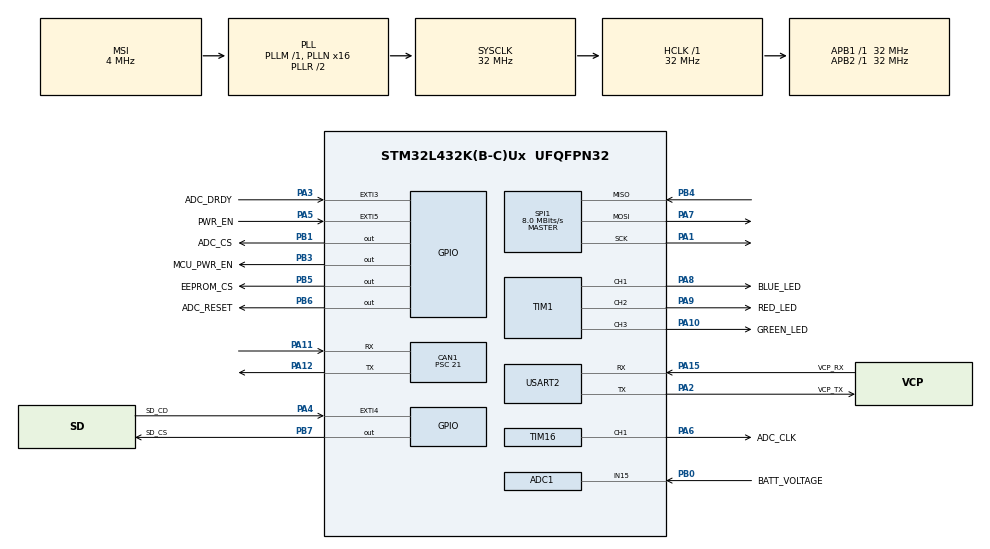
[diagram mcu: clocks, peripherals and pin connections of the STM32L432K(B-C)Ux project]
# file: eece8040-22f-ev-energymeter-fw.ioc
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ADC1.Channel-0\#ChannelRegularConversion=ADC_CHANNEL_15
ADC1.NbrOfConversionFlag=1
ADC1.OffsetNumber-0\#ChannelRegularConversion=ADC_OFFSET_NONE
ADC1.Rank-0\#ChannelRegularConversion=1
ADC1.SamplingTime-0\#ChannelRegularConversion=ADC_SAMPLETIME_2CYCLES_5
ADC1.master=1
CAN1.CalculateBaudRate=507936
CAN1.CalculateTimeBit=1968
CAN1.CalculateTimeQuantum=656.25
CAN1.Prescaler=21
Dma.Request0=USART2_RX
Dma.USART2_RX.0.Direction=DMA_PERIPH_TO_MEMORY
Dma.USART2_RX.0.Instance=DMA1_Channel6
Dma.USART2_RX.0.MemDataAlignment=DMA_MDATAALIGN_BYTE
Dma.USART2_RX.0.MemInc=DMA_MINC_ENABLE
Dma.USART2_RX.0.Mode=DMA_NORMAL
Dma.USART2_RX.0.PeriphDataAlignment=DMA_PDATAALIGN_BYTE
Dma.USART2_RX.0.PeriphInc=DMA_PINC_DISABLE
Dma.USART2_RX.0.Priority=DMA_PRIORITY_LOW
FATFS._MAX_SS=4096
FATFS._USE_LFN=1
Mcu.Family=STM32L4
Mcu.Name=STM32L432K(B-C)Ux
Mcu.Package=UFQFPN32
NVIC.DMA1_Channel6_IRQn=true\:0\:0\:false\:false\:true\:false\:true\:true
NVIC.EXTI3_IRQn=true\:0\:0\:false\:false\:true\:true\:true\:false
NVIC.EXTI4_IRQn=true\:0\:0\:false\:false\:true\:true\:true\:false
NVIC.EXTI9_5_IRQn=true\:0\:0\:false\:false\:true\:true\:true\:false
NVIC.PriorityGroup=NVIC_PRIORITYGROUP_4
NVIC.USART2_IRQn=true\:0\:0\:false\:false\:true\:true\:true\:true
PA0.GPIO_Label=MCO [High speed clock in]
PA0.Mode=HSE-External-Clock-Source-for-LittleOrca
PA0.Signal=RCC_CK_IN
PA1.Mode=Full_Duplex_Master
PA1.Signal=SPI1_SCK
PA10.GPIO_Label=GREEN_LED
PA10.Signal=S_TIM1_CH3
PA11.Mode=CAN_Activate
PA11.Signal=CAN1_RX
PA12.Mode=CAN_Activate
PA12.Signal=CAN1_TX
PA13\ (JTMS-SWDIO).GPIO_Label=SWDIO
PA13\ (JTMS-SWDIO).Mode=Serial_Wire
PA13\ (JTMS-SWDIO).Signal=SYS_JTMS-SWDIO
PA14\ (JTCK-SWCLK).GPIO_Label=SWCLK
PA14\ (JTCK-SWCLK).Mode=Serial_Wire
PA14\ (JTCK-SWCLK).Signal=SYS_JTCK-SWCLK
PA15\ (JTDI).GPIO_Label=VCP_RX
PA15\ (JTDI).Mode=Asynchronous
PA15\ (JTDI).Signal=USART2_RX
PA2.GPIO_Label=VCP_TX
PA2.Mode=Asynchronous
PA2.Signal=USART2_TX
PA3.GPIO_Label=ADC_DRDY
PA3.GPIO_ModeDefaultEXTI=GPIO_MODE_IT_FALLING
PA3.Signal=GPXTI3
PA4.GPIO_Label=SD_CD
PA4.GPIO_ModeDefaultEXTI=GPIO_MODE_IT_FALLING
PA4.GPIO_PuPd=GPIO_PULLUP
PA4.Signal=GPXTI4
PA5.GPIO_Label=PWR_EN
PA5.GPIO_ModeDefaultEXTI=GPIO_MODE_IT_FALLING
PA5.GPIO_PuPd=GPIO_PULLDOWN
PA5.Signal=GPXTI5
PA6.GPIO_Label=ADC_CLK
PA6.GPIO_Speed=GPIO_SPEED_FREQ_LOW
PA6.Signal=S_TIM16_CH1
PA7.Mode=Full_Duplex_Master
PA7.Signal=SPI1_MOSI
PA8.GPIO_Label=BLUE_LED
PA8.Signal=S_TIM1_CH1
PA9.GPIO_Label=RED_LED
PA9.Signal=S_TIM1_CH2
PB0.GPIO_Label=BATT_VOLTAGE
PB0.Signal=ADCx_IN15
PB1.GPIO_Label=ADC_CS
PB1.PinState=GPIO_PIN_SET
PB1.Signal=GPIO_Output
PB3\ (JTDO-TRACESWO).GPIO_Label=MCU_PWR_EN
PB3\ (JTDO-TRACESWO).PinState=GPIO_PIN_SET
PB3\ (JTDO-TRACESWO).Signal=GPIO_Output
PB4\ (NJTRST).Mode=Full_Duplex_Master
PB4\ (NJTRST).Signal=SPI1_MISO
PB5.GPIO_Label=EEPROM_CS
PB5.PinState=GPIO_PIN_SET
PB5.Signal=GPIO_Output
PB6.GPIO_Label=ADC_RESET
PB6.PinState=GPIO_PIN_SET
PB6.Signal=GPIO_Output
PB7.GPIO_Label=SD_CS
PB7.PinState=GPIO_PIN_SET
PB7.Signal=GPIO_Output
PC14-OSC32_IN\ (PC14).Mode=LSE-External-Oscillator
PC14-OSC32_IN\ (PC14).Signal=RCC_OSC32_IN
PC15-OSC32_OUT\ (PC15).Mode=LSE-External-Oscillator
PC15-OSC32_OUT\ (PC15).Signal=RCC_OSC32_OUT
ProjectManager.HeapSize=0x200
ProjectManager.StackSize=0x400
ProjectManager.TargetToolchain=STM32CubeIDE
RCC.ADCFreq_Value=32000000
RCC.AHBFreq_Value=32000000
RCC.APB1Freq_Value=32000000
RCC.APB1TimFreq_Value=32000000
RCC.APB2Freq_Value=32000000
RCC.APB2TimFreq_Value=32000000
RCC.CortexFreq_Value=32000000
RCC.HCLKFreq_Value=32000000
RCC.HSE_VALUE=8000000
RCC.HSI48_VALUE=48000000
RCC.HSI_VALUE=16000000
RCC.MSI_VALUE=4000000
RCC.PLLN=16
RCC.PLLSAI1N=16
RCC.SYSCLKFreq_VALUE=32000000
RCC.SYSCLKSource=RCC_SYSCLKSOURCE_PLLCLK
RCC.USBFreq_Value=32000000
RCC.VCOOutputFreq_Value=64000000
SH.ADCx_IN15.0=ADC1_IN15,IN15-Single-Ended
SH.S_TIM16_CH1.0=TIM16_CH1,PWM Generation1 CH1
SH.S_TIM1_CH1.0=TIM1_CH1,PWM Generation1 CH1
SH.S_TIM1_CH2.0=TIM1_CH2,PWM Generation2 CH2
SH.S_TIM1_CH3.0=TIM1_CH3,PWM Generation3 CH3
SPI1.BaudRatePrescaler=SPI_BAUDRATEPRESCALER_4
SPI1.CLKPhase=SPI_PHASE_2EDGE
SPI1.CalculateBaudRate=8.0 MBits/s
SPI1.DataSize=SPI_DATASIZE_8BIT
SPI1.Direction=SPI_DIRECTION_2LINES
SPI1.Mode=SPI_MODE_MASTER
SPI1.VirtualType=VM_MASTER
TIM1.Channel-PWM\ Generation1\ CH1=TIM_CHANNEL_1
TIM1.Channel-PWM\ Generation2\ CH2=TIM_CHANNEL_2
TIM1.Channel-PWM\ Generation3\ CH3=TIM_CHANNEL_3
TIM1.OCPolarity_1=TIM_OCPOLARITY_LOW
TIM1.OCPolarity_2=TIM_OCPOLARITY_LOW
TIM1.OCPolarity_3=TIM_OCPOLARITY_LOW
TIM16.Channel=TIM_CHANNEL_1
TIM16.Period=3
TIM16.Pulse=2
USART2.VirtualMode-Asynchronous=VM_ASYNC
VP_FATFS_VS_Generic.Mode=User_defined
VP_TIM16_VS_ClockSourceINT.Mode=Enable_Timer
board=custom

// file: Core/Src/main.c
/* USER CODE BEGIN Header */
/**
  ******************************************************************************
  * @file           : main.c
  * @brief          : Main program body
  ******************************************************************************
  * @attention
  *
  * Copyright (c) 2022 STMicroelectronics.
  * All rights reserved.
  *
  * This software is licensed under terms that can be found in the LICENSE file
  * in the root directory of this software component.
  * If no LICENSE file comes with this software, it is provided AS-IS.
  *
  ******************************************************************************
  */
/* USER CODE END Header */
#include "main.h"
#include "fatfs.h"

/* USER CODE BEGIN Includes */
#include "integrity.h"
#include "ui.h"
#include "power.h"
#include "eeprom.h"
#include "adc_spi.h"
#include "log.h"
#include "stdbool.h"

/* USER CODE END Includes */

ADC_HandleTypeDef hadc1;

CAN_HandleTypeDef hcan1;

SPI_HandleTypeDef hspi1;

TIM_HandleTypeDef htim1;
TIM_HandleTypeDef htim16;

UART_HandleTypeDef huart2;
DMA_HandleTypeDef hdma_usart2_rx;

/* USER CODE BEGIN PV */
uint8_t ADCnewData = 0;
uint8_t runLogRoutine = 0;
uint32_t timestamp;
uint32_t nextLog = 0;

uint8_t UARTrxData[80];
bool UARTdataAvailable = false;

/* USER CODE END PV */

void SystemClock_Config(void);
static void MX_GPIO_Init(void);
static void MX_DMA_Init(void);
static void MX_USART2_UART_Init(void);
static void MX_CAN1_Init(void);
static void MX_ADC1_Init(void);
static void MX_TIM1_Init(void);
static void MX_TIM16_Init(void);
static void MX_SPI1_Init(void);

int main(void)
{

  /* MCU Configuration--------------------------------------------------------*/

  /* Reset of all peripherals, Initializes the Flash interface and the Systick. */
  HAL_Init();

  /* Configure the system clock */
  SystemClock_Config();

  /* USER CODE BEGIN SysInit */
	initCurrentStatus();

  /* USER CODE END SysInit */

  /* Initialize all configured peripherals */
  MX_GPIO_Init();
  MX_DMA_Init();
  MX_USART2_UART_Init();
  MX_CAN1_Init();
  MX_ADC1_Init();
  MX_TIM1_Init();
  MX_TIM16_Init();
  MX_SPI1_Init();
  MX_FATFS_Init();
  /* USER CODE BEGIN 2 */
	HAL_TIM_PWM_Start(&htim16, TIM_CHANNEL_1);
	initPowerModule();
	EEPROM_SPI_INIT();

	if (ADCinit(&hspi1) != HAL_OK) {
		printf("Error initializing ADC.\n\r");
	}

	HAL_UARTEx_ReceiveToIdle_DMA(&huart2, UARTrxData, 80);
//	_HAL_DMA_DISABLE_IT(&hdma_usart2_rx, DMA_IT_HT);

  /* USER CODE END 2 */

  /* Infinite loop */
	while (1) {

    /* USER CODE BEGIN 3 */
		houseKeep();

		if (ADCnewData >= 1){
			ADCrawChannels();
			runLogRoutine = 1;
			ADCnewData = 0;
		}

		dataLogRoutine(timestamp, &runLogRoutine);

		if(UARTdataAvailable){
			if (UARTrxData[0] == '$'){
				uiCommand(UARTrxData);
			}
			UARTdataAvailable = false;
			HAL_UARTEx_ReceiveToIdle_DMA(&huart2, UARTrxData, 80);
		}

	}
  /* USER CODE END 3 */
}

void SystemClock_Config(void)
{
  RCC_OscInitTypeDef RCC_OscInitStruct = {0};
  RCC_ClkInitTypeDef RCC_ClkInitStruct = {0};

  /** Configure the main internal regulator output voltage
  */
  if (HAL_PWREx_ControlVoltageScaling(PWR_REGULATOR_VOLTAGE_SCALE1) != HAL_OK)
  {
    Error_Handler();
  }

  /** Configure LSE Drive Capability
  */
  HAL_PWR_EnableBkUpAccess();
  __HAL_RCC_LSEDRIVE_CONFIG(RCC_LSEDRIVE_LOW);

  /** Initializes the RCC Oscillators according to the specified parameters
  * in the RCC_OscInitTypeDef structure.
  */
  RCC_OscInitStruct.OscillatorType = RCC_OSCILLATORTYPE_LSE|RCC_OSCILLATORTYPE_MSI;
  RCC_OscInitStruct.LSEState = RCC_LSE_ON;
  RCC_OscInitStruct.MSIState = RCC_MSI_ON;
  RCC_OscInitStruct.MSICalibrationValue = 0;
  RCC_OscInitStruct.MSIClockRange = RCC_MSIRANGE_6;
  RCC_OscInitStruct.PLL.PLLState = RCC_PLL_ON;
  RCC_OscInitStruct.PLL.PLLSource = RCC_PLLSOURCE_MSI;
  RCC_OscInitStruct.PLL.PLLM = 1;
  RCC_OscInitStruct.PLL.PLLN = 16;
  RCC_OscInitStruct.PLL.PLLP = RCC_PLLP_DIV7;
  RCC_OscInitStruct.PLL.PLLQ = RCC_PLLQ_DIV2;
  RCC_OscInitStruct.PLL.PLLR = RCC_PLLR_DIV2;
  if (HAL_RCC_OscConfig(&RCC_OscInitStruct) != HAL_OK)
  {
    Error_Handler();
  }

  /** Initializes the CPU, AHB and APB buses clocks
  */
  RCC_ClkInitStruct.ClockType = RCC_CLOCKTYPE_HCLK|RCC_CLOCKTYPE_SYSCLK
                              |RCC_CLOCKTYPE_PCLK1|RCC_CLOCKTYPE_PCLK2;
  RCC_ClkInitStruct.SYSCLKSource = RCC_SYSCLKSOURCE_PLLCLK;
  RCC_ClkInitStruct.AHBCLKDivider = RCC_SYSCLK_DIV1;
  RCC_ClkInitStruct.APB1CLKDivider = RCC_HCLK_DIV1;
  RCC_ClkInitStruct.APB2CLKDivider = RCC_HCLK_DIV1;

  if (HAL_RCC_ClockConfig(&RCC_ClkInitStruct, FLASH_LATENCY_1) != HAL_OK)
  {
    Error_Handler();
  }

  /** Enable MSI Auto calibration
  */
  HAL_RCCEx_EnableMSIPLLMode();
}

static void MX_ADC1_Init(void)
{

  ADC_ChannelConfTypeDef sConfig = {0};

  /** Common config
  */
  hadc1.Instance = ADC1;
  hadc1.Init.ClockPrescaler = ADC_CLOCK_ASYNC_DIV1;
  hadc1.Init.Resolution = ADC_RESOLUTION_12B;
  hadc1.Init.DataAlign = ADC_DATAALIGN_RIGHT;
  hadc1.Init.ScanConvMode = ADC_SCAN_DISABLE;
  hadc1.Init.EOCSelection = ADC_EOC_SINGLE_CONV;
  hadc1.Init.LowPowerAutoWait = DISABLE;
  hadc1.Init.ContinuousConvMode = DISABLE;
  hadc1.Init.NbrOfConversion = 1;
  hadc1.Init.DiscontinuousConvMode = DISABLE;
  hadc1.Init.ExternalTrigConv = ADC_SOFTWARE_START;
  hadc1.Init.ExternalTrigConvEdge = ADC_EXTERNALTRIGCONVEDGE_NONE;
  hadc1.Init.DMAContinuousRequests = DISABLE;
  hadc1.Init.Overrun = ADC_OVR_DATA_PRESERVED;
  hadc1.Init.OversamplingMode = DISABLE;
  if (HAL_ADC_Init(&hadc1) != HAL_OK)
  {
    Error_Handler();
  }

  /** Configure Regular Channel
  */
  sConfig.Channel = ADC_CHANNEL_15;
  sConfig.Rank = ADC_REGULAR_RANK_1;
  sConfig.SamplingTime = ADC_SAMPLETIME_2CYCLES_5;
  sConfig.SingleDiff = ADC_SINGLE_ENDED;
  sConfig.OffsetNumber = ADC_OFFSET_NONE;
  sConfig.Offset = 0;
  if (HAL_ADC_ConfigChannel(&hadc1, &sConfig) != HAL_OK)
  {
    Error_Handler();
  }

}

static void MX_CAN1_Init(void)
{

  hcan1.Instance = CAN1;
  hcan1.Init.Prescaler = 21;
  hcan1.Init.Mode = CAN_MODE_NORMAL;
  hcan1.Init.SyncJumpWidth = CAN_SJW_1TQ;
  hcan1.Init.TimeSeg1 = CAN_BS1_1TQ;
  hcan1.Init.TimeSeg2 = CAN_BS2_1TQ;
  hcan1.Init.TimeTriggeredMode = DISABLE;
  hcan1.Init.AutoBusOff = DISABLE;
  hcan1.Init.AutoWakeUp = DISABLE;
  hcan1.Init.AutoRetransmission = DISABLE;
  hcan1.Init.ReceiveFifoLocked = DISABLE;
  hcan1.Init.TransmitFifoPriority = DISABLE;
  if (HAL_CAN_Init(&hcan1) != HAL_OK)
  {
    Error_Handler();
  }

}

static void MX_SPI1_Init(void)
{

  /* USER CODE BEGIN SPI1_Init 0 */
	//The SPI configuration is CPOL=0 | CPHA=0.
	//Check if it matches with the peripherals.

  /* USER CODE END SPI1_Init 0 */

  /* SPI1 parameter configuration*/
  hspi1.Instance = SPI1;
  hspi1.Init.Mode = SPI_MODE_MASTER;
  hspi1.Init.Direction = SPI_DIRECTION_2LINES;
  hspi1.Init.DataSize = SPI_DATASIZE_8BIT;
  hspi1.Init.CLKPolarity = SPI_POLARITY_LOW;
  hspi1.Init.CLKPhase = SPI_PHASE_2EDGE;
  hspi1.Init.NSS = SPI_NSS_SOFT;
  hspi1.Init.BaudRatePrescaler = SPI_BAUDRATEPRESCALER_4;
  hspi1.Init.FirstBit = SPI_FIRSTBIT_MSB;
  hspi1.Init.TIMode = SPI_TIMODE_DISABLE;
  hspi1.Init.CRCCalculation = SPI_CRCCALCULATION_DISABLE;
  hspi1.Init.CRCPolynomial = 7;
  hspi1.Init.CRCLength = SPI_CRC_LENGTH_DATASIZE;
  hspi1.Init.NSSPMode = SPI_NSS_PULSE_DISABLE;
  if (HAL_SPI_Init(&hspi1) != HAL_OK)
  {
    Error_Handler();
  }

}

static void MX_TIM1_Init(void)
{

  TIM_MasterConfigTypeDef sMasterConfig = {0};
  TIM_OC_InitTypeDef sConfigOC = {0};
  TIM_BreakDeadTimeConfigTypeDef sBreakDeadTimeConfig = {0};

  htim1.Instance = TIM1;
  htim1.Init.Prescaler = 0;
  htim1.Init.CounterMode = TIM_COUNTERMODE_UP;
  htim1.Init.Period = 65535;
  htim1.Init.ClockDivision = TIM_CLOCKDIVISION_DIV1;
  htim1.Init.RepetitionCounter = 0;
  htim1.Init.AutoReloadPreload = TIM_AUTORELOAD_PRELOAD_DISABLE;
  if (HAL_TIM_PWM_Init(&htim1) != HAL_OK)
  {
    Error_Handler();
  }
  sMasterConfig.MasterOutputTrigger = TIM_TRGO_RESET;
  sMasterConfig.MasterOutputTrigger2 = TIM_TRGO2_RESET;
  sMasterConfig.MasterSlaveMode = TIM_MASTERSLAVEMODE_DISABLE;
  if (HAL_TIMEx_MasterConfigSynchronization(&htim1, &sMasterConfig) != HAL_OK)
  {
    Error_Handler();
  }
  sConfigOC.OCMode = TIM_OCMODE_PWM1;
  sConfigOC.Pulse = 0;
  sConfigOC.OCPolarity = TIM_OCPOLARITY_LOW;
  sConfigOC.OCNPolarity = TIM_OCNPOLARITY_HIGH;
  sConfigOC.OCFastMode = TIM_OCFAST_DISABLE;
  sConfigOC.OCIdleState = TIM_OCIDLESTATE_RESET;
  sConfigOC.OCNIdleState = TIM_OCNIDLESTATE_RESET;
  if (HAL_TIM_PWM_ConfigChannel(&htim1, &sConfigOC, TIM_CHANNEL_1) != HAL_OK)
  {
    Error_Handler();
  }
  if (HAL_TIM_PWM_ConfigChannel(&htim1, &sConfigOC, TIM_CHANNEL_2) != HAL_OK)
  {
    Error_Handler();
  }
  if (HAL_TIM_PWM_ConfigChannel(&htim1, &sConfigOC, TIM_CHANNEL_3) != HAL_OK)
  {
    Error_Handler();
  }
  sBreakDeadTimeConfig.OffStateRunMode = TIM_OSSR_DISABLE;
  sBreakDeadTimeConfig.OffStateIDLEMode = TIM_OSSI_DISABLE;
  sBreakDeadTimeConfig.LockLevel = TIM_LOCKLEVEL_OFF;
  sBreakDeadTimeConfig.DeadTime = 0;
  sBreakDeadTimeConfig.BreakState = TIM_BREAK_DISABLE;
  sBreakDeadTimeConfig.BreakPolarity = TIM_BREAKPOLARITY_HIGH;
  sBreakDeadTimeConfig.BreakFilter = 0;
  sBreakDeadTimeConfig.Break2State = TIM_BREAK2_DISABLE;
  sBreakDeadTimeConfig.Break2Polarity = TIM_BREAK2POLARITY_HIGH;
  sBreakDeadTimeConfig.Break2Filter = 0;
  sBreakDeadTimeConfig.AutomaticOutput = TIM_AUTOMATICOUTPUT_DISABLE;
  if (HAL_TIMEx_ConfigBreakDeadTime(&htim1, &sBreakDeadTimeConfig) != HAL_OK)
  {
    Error_Handler();
  }
  HAL_TIM_MspPostInit(&htim1);

}

static void MX_TIM16_Init(void)
{

  /* USER CODE BEGIN TIM16_Init 0 */
	GPIO_InitTypeDef GPIO_InitStruct = {0};
  /* USER CODE END TIM16_Init 0 */

  TIM_OC_InitTypeDef sConfigOC = {0};
  TIM_BreakDeadTimeConfigTypeDef sBreakDeadTimeConfig = {0};

  htim16.Instance = TIM16;
  htim16.Init.Prescaler = 0;
  htim16.Init.CounterMode = TIM_COUNTERMODE_UP;
  htim16.Init.Period = 3;
  htim16.Init.ClockDivision = TIM_CLOCKDIVISION_DIV1;
  htim16.Init.RepetitionCounter = 0;
  htim16.Init.AutoReloadPreload = TIM_AUTORELOAD_PRELOAD_DISABLE;
  if (HAL_TIM_Base_Init(&htim16) != HAL_OK)
  {
    Error_Handler();
  }
  if (HAL_TIM_PWM_Init(&htim16) != HAL_OK)
  {
    Error_Handler();
  }
  sConfigOC.OCMode = TIM_OCMODE_PWM1;
  sConfigOC.Pulse = 2;
  sConfigOC.OCPolarity = TIM_OCPOLARITY_HIGH;
  sConfigOC.OCNPolarity = TIM_OCNPOLARITY_HIGH;
  sConfigOC.OCFastMode = TIM_OCFAST_DISABLE;
  sConfigOC.OCIdleState = TIM_OCIDLESTATE_RESET;
  sConfigOC.OCNIdleState = TIM_OCNIDLESTATE_RESET;
  if (HAL_TIM_PWM_ConfigChannel(&htim16, &sConfigOC, TIM_CHANNEL_1) != HAL_OK)
  {
    Error_Handler();
  }
  sBreakDeadTimeConfig.OffStateRunMode = TIM_OSSR_DISABLE;
  sBreakDeadTimeConfig.OffStateIDLEMode = TIM_OSSI_DISABLE;
  sBreakDeadTimeConfig.LockLevel = TIM_LOCKLEVEL_OFF;
  sBreakDeadTimeConfig.DeadTime = 0;
  sBreakDeadTimeConfig.BreakState = TIM_BREAK_DISABLE;
  sBreakDeadTimeConfig.BreakPolarity = TIM_BREAKPOLARITY_HIGH;
  sBreakDeadTimeConfig.AutomaticOutput = TIM_AUTOMATICOUTPUT_DISABLE;
  if (HAL_TIMEx_ConfigBreakDeadTime(&htim16, &sBreakDeadTimeConfig) != HAL_OK)
  {
    Error_Handler();
  }
  /* USER CODE BEGIN TIM16_Init 2 */

	/*Configure GPIO pin : ADC_CLK_Pin */
	GPIO_InitStruct.Pin = ADC_CLK_Pin;
	GPIO_InitStruct.Mode = GPIO_MODE_AF_PP;
	GPIO_InitStruct.Pull = GPIO_NOPULL;
	GPIO_InitStruct.Speed = GPIO_SPEED_FREQ_VERY_HIGH;
	HAL_GPIO_Init(ADC_CLK_GPIO_Port, &GPIO_InitStruct);

  /* USER CODE END TIM16_Init 2 */
  HAL_TIM_MspPostInit(&htim16);

}

static void MX_USART2_UART_Init(void)
{

  huart2.Instance = USART2;
  huart2.Init.BaudRate = 115200;
  huart2.Init.WordLength = UART_WORDLENGTH_8B;
  huart2.Init.StopBits = UART_STOPBITS_1;
  huart2.Init.Parity = UART_PARITY_NONE;
  huart2.Init.Mode = UART_MODE_TX_RX;
  huart2.Init.HwFlowCtl = UART_HWCONTROL_NONE;
  huart2.Init.OverSampling = UART_OVERSAMPLING_16;
  huart2.Init.OneBitSampling = UART_ONE_BIT_SAMPLE_DISABLE;
  huart2.AdvancedInit.AdvFeatureInit = UART_ADVFEATURE_NO_INIT;
  if (HAL_UART_Init(&huart2) != HAL_OK)
  {
    Error_Handler();
  }

}

static void MX_DMA_Init(void)
{

  /* DMA controller clock enable */
  __HAL_RCC_DMA1_CLK_ENABLE();

  /* DMA interrupt init */
  /* DMA1_Channel6_IRQn interrupt configuration */
  HAL_NVIC_SetPriority(DMA1_Channel6_IRQn, 0, 0);
  HAL_NVIC_EnableIRQ(DMA1_Channel6_IRQn);

}

static void MX_GPIO_Init(void)
{
  GPIO_InitTypeDef GPIO_InitStruct = {0};

  /* GPIO Ports Clock Enable */
  __HAL_RCC_GPIOC_CLK_ENABLE();
  __HAL_RCC_GPIOA_CLK_ENABLE();
  __HAL_RCC_GPIOB_CLK_ENABLE();

  /*Configure GPIO pin Output Level */
  HAL_GPIO_WritePin(GPIOB, ADC_CS_Pin|MCU_PWR_EN_Pin|EEPROM_CS_Pin|ADC_RESET_Pin
                          |SD_CS_Pin, GPIO_PIN_SET);

  /*Configure GPIO pin : ADC_DRDY_Pin */
  GPIO_InitStruct.Pin = ADC_DRDY_Pin;
  GPIO_InitStruct.Mode = GPIO_MODE_IT_FALLING;
  GPIO_InitStruct.Pull = GPIO_NOPULL;
  HAL_GPIO_Init(ADC_DRDY_GPIO_Port, &GPIO_InitStruct);

  /*Configure GPIO pin : SD_CD_Pin */
  GPIO_InitStruct.Pin = SD_CD_Pin;
  GPIO_InitStruct.Mode = GPIO_MODE_IT_FALLING;
  GPIO_InitStruct.Pull = GPIO_PULLUP;
  HAL_GPIO_Init(SD_CD_GPIO_Port, &GPIO_InitStruct);

  /*Configure GPIO pin : PWR_EN_Pin */
  GPIO_InitStruct.Pin = PWR_EN_Pin;
  GPIO_InitStruct.Mode = GPIO_MODE_IT_FALLING;
  GPIO_InitStruct.Pull = GPIO_PULLDOWN;
  HAL_GPIO_Init(PWR_EN_GPIO_Port, &GPIO_InitStruct);

  /*Configure GPIO pins : ADC_CS_Pin MCU_PWR_EN_Pin EEPROM_CS_Pin ADC_RESET_Pin
                           SD_CS_Pin */
  GPIO_InitStruct.Pin = ADC_CS_Pin|MCU_PWR_EN_Pin|EEPROM_CS_Pin|ADC_RESET_Pin
                          |SD_CS_Pin;
  GPIO_InitStruct.Mode = GPIO_MODE_OUTPUT_PP;
  GPIO_InitStruct.Pull = GPIO_NOPULL;
  GPIO_InitStruct.Speed = GPIO_SPEED_FREQ_LOW;
  HAL_GPIO_Init(GPIOB, &GPIO_InitStruct);

  /* EXTI interrupt init*/
  HAL_NVIC_SetPriority(EXTI3_IRQn, 0, 0);
  HAL_NVIC_SetPriority(EXTI4_IRQn, 0, 0);
  HAL_NVIC_SetPriority(EXTI9_5_IRQn, 0, 0);

}

/* USER CODE BEGIN 4 */
void HAL_GPIO_EXTI_Callback(uint16_t interruptPin){
	if (interruptPin == ADC_DRDY_Pin){
		timestamp = HAL_GetTick();
		ADCnewData++;
	}
}

void HAL_UARTEx_RxEventCallback(UART_HandleTypeDef *huart, uint16_t Size){
	if (huart == &huart2){
		UARTdataAvailable = true;
	}
}

/* USER CODE END 4 */

void Error_Handler(void)
{
  /* USER CODE BEGIN Error_Handler_Debug */
	//TODO: It can be a good idea insert our error function inside this routine
	/* User can add his own implementation to report the HAL error return state */
	__disable_irq();
	while (1) {
	}
  /* USER CODE END Error_Handler_Debug */
}
